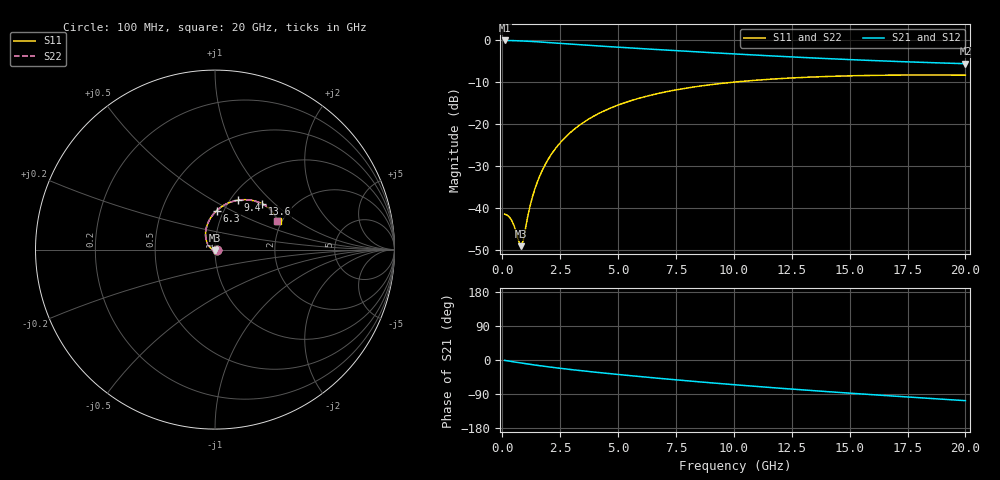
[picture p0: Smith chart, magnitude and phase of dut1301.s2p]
! Touchstone file exported from HFSS 2024.1.0
!  File:  C:/UserFiles/LocalFiles/RDL_TSV_Batchsim/temp_RDL_TSV_1301_1780382243.aedt
!  Generated:  02:52:50 PM Jun  2, 2026
!  Design:  RDL_TSV
!  Project:  temp_RDL_TSV_1301_1780382243
!  Setup:  Setup1
!  Solution:  Sweep
! Variables:
!  dtsv = 7um
!  hbump = 3um
!  htsv = 69.81um
!  ldown = 162.37um
!  lrdl = 201.55um
!  p = 40
!  p1 = 55.15um
!  rhole = 10um
!  subl = 1293.31um
!  t = 450um
!  tdown = 3.97um
!  trdl = 2.04um
!  viad = 10um
!  wdown = 21.7um
!  wrdl = 29.34um
!  xbump = 18um
# GHz S MA R 50.000000
! Terminal data exported
! Port[1] = TM1_1_T1
! Port[2] = TM1_4_T1
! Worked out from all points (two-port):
!   200 points, 100 MHz to 20 GHz, reference 50 ohm
!   highest |S21| = -0.08 dB at 100 MHz (marker M1); lowest = -5.6 dB at 20 GHz (marker M2)
!   |S21| within 3 dB of the highest: start of sweep to 9.329 GHz
!   lowest |S11| = -49.0 dB at 800 MHz (marker M3), VSWR 1.01, Z = 50 - j0.353 ohm
!   |S11| at or under -10 dB: start of sweep to 9.998 GHz
!   |S22| runs from -49.0 to -8.3 dB; largest |S21 - S12| = 2.6e-13
!   S11 on the Smith chart (normalised r, x): 100 MHz: 1.02, -0.00; 6.3 GHz: 0.93, +0.42; 9.4 GHz: 1.09, +0.66; 13.6 GHz: 1.42, +0.84; 20 GHz: 1.90, +0.70
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0.1  0.008504 -3.3  0.9911 -1.0  0.9911 -1.0  0.008504 -3.3
! Gamma 0 0 0 0
! Port Impedance 50 0 50 0
0.4  0.007205 -18.9  0.9877 -4.0  0.9877 -4.0  0.007206 -18.9
0.5  0.006281 -27.6  0.9859 -5.0  0.9859 -5.0  0.006282 -27.6
0.7  0.004116 -59.5  0.9816 -6.9  0.9816 -6.9  0.004118 -59.5
0.8  0.003531 -91.2  0.979 -7.8  0.979 -7.8  0.003532 -91.1
0.9  0.004075 -127.1  0.9763 -8.7  0.9763 -8.7  0.004075 -127.1
1.1  0.007979 -166.8  0.9701 -10.5  0.9701 -10.5  0.007976 -166.8
1.3  0.01357 176.5  0.9633 -12.3  0.9633 -12.3  0.01356 176.5
1.5  0.02006 166.4  0.9559 -14.0  0.9559 -14.0  0.02005 166.4
1.8  0.031 155.7  0.9442 -16.5  0.9442 -16.5  0.03099 155.7
2.1  0.04298 147.4  0.932 -18.9  0.932 -18.9  0.04297 147.4
2.5  0.06002 138.2  0.9155 -21.9  0.9155 -21.9  0.06 138.2
3.5  0.1046 120.2  0.876 -28.8  0.876 -28.8  0.1046 120.2
4.7  0.1565 104.0  0.8337 -36.4  0.8337 -36.4  0.1564 104.0
6.3  0.2174 87.6  0.7838 -45.7  0.7838 -45.7  0.2173 87.6
6.8  0.2341 83.3  0.7692 -48.5  0.7692 -48.5  0.234 83.3
9.4  0.304 64.9  0.6999 -62.2  0.6999 -62.2  0.3039 64.9
10.1  0.3182 60.8  0.683 -65.6  0.683 -65.6  0.3181 60.8
13.4  0.364 45.1  0.6138 -80.7  0.6138 -80.7  0.3639 45.1
13.6  0.3658 44.3  0.6102 -81.6  0.6102 -81.6  0.3657 44.3
16.7  0.3828 33.4  0.5616 -94.4  0.5616 -94.4  0.3826 33.4
20  0.3827 24.5  0.5244 -107.3  0.5244 -107.3  0.3825 24.5
